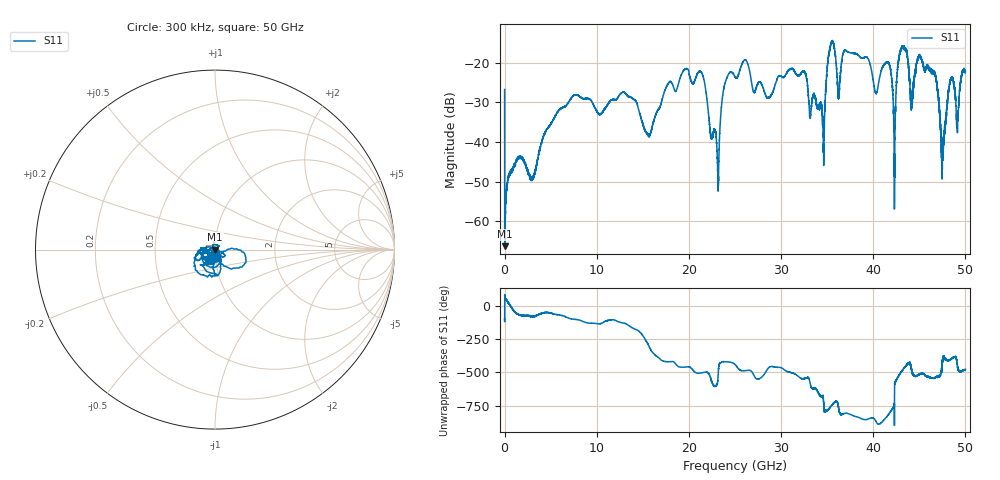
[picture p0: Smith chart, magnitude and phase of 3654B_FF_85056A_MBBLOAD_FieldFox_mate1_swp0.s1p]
!Created with skrf (http://scikit-rf.org).
# Hz S RI R 50.0
!freq ReS11 ImS11
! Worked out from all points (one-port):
!   10001 points, 300 kHz to 50 GHz, reference 50 ohm
!   lowest |S11| = -66.3 dB at 35.3 MHz (marker M1), VSWR 1.00, Z = 50 + j0.0367 ohm
!   |S11| at or under -10 dB: start of sweep to end of sweep
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300000  -0.00605 -0.0454
3.529979e7  0.000315 0.000367
2.552985e8  0.00226 0.00146
3.005282e9  0.000619 -0.00338
6.250262e9  0.00749 -0.0261
1.250022e10  -0.0221 -0.0328
1.562021e10  0.00536 0.0106
1.875019e10  -0.000754 -0.0487
2.136017e10  -0.0606 -0.0446
2.310016e10  -0.0042 0.00353
2.389016e10  0.0271 -0.0459
2.500015e10  0.0112 -0.065
3.125011e10  -0.0683 -0.0486
3.452509e10  0.0156 0.0138
3.543509e10  0.1503 -0.0995
3.624508e10  0.0248 -0.0247
3.750008e10  -0.00963 -0.1324
4.029506e10  -0.034 -0.0222
4.161505e10  -0.0162 -0.0984
4.228505e10  0.00335 -0.00155
4.294004e10  -0.1146 -0.0768
4.375004e10  0.029 -0.1078
4.417003e10  -0.0186 -0.0221
4.664502e10  -0.0743 0.00299
4.753501e10  0.00627 -0.00514
4.838501e10  0.0462 -0.0393
4.913001e10  0.00308 -0.0146
5e10  -0.0357 -0.0685
